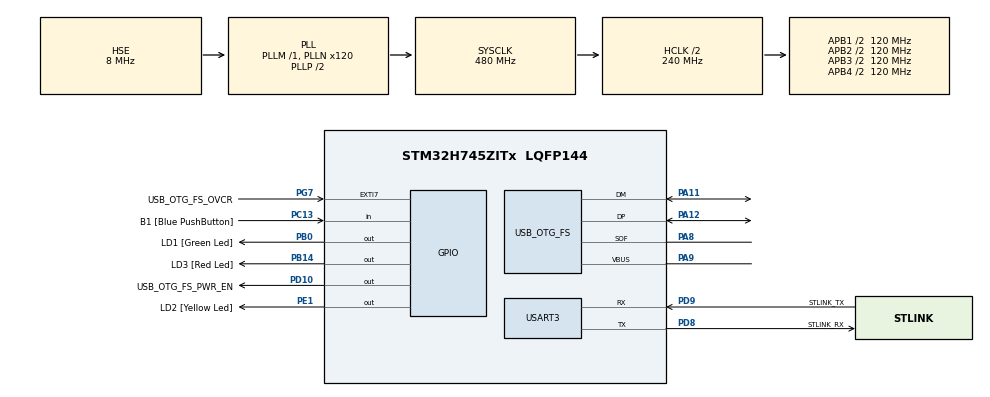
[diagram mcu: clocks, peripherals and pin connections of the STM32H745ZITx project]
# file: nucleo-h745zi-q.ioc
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CORTEX_M7.AccessPermission-Cortex_Memory_Protection_Unit_Region0_Settings=MPU_REGION_FULL_ACCESS
CORTEX_M7.AccessPermission-Cortex_Memory_Protection_Unit_Region1_Settings=MPU_REGION_FULL_ACCESS
CORTEX_M7.AccessPermission-Cortex_Memory_Protection_Unit_Region2_Settings=MPU_REGION_FULL_ACCESS
CORTEX_M7.BaseAddress-Cortex_Memory_Protection_Unit_Region0_Settings=0x38000000
CORTEX_M7.BaseAddress-Cortex_Memory_Protection_Unit_Region1_Settings=0x24000000
CORTEX_M7.BaseAddress-Cortex_Memory_Protection_Unit_Region2_Settings=0x30000000
CORTEX_M7.CPU_DCache=Enabled
CORTEX_M7.CPU_ICache=Enabled
CORTEX_M7.Enable-Cortex_Memory_Protection_Unit_Region0_Settings=MPU_REGION_ENABLE
CORTEX_M7.Enable-Cortex_Memory_Protection_Unit_Region1_Settings=MPU_REGION_ENABLE
CORTEX_M7.Enable-Cortex_Memory_Protection_Unit_Region2_Settings=MPU_REGION_ENABLE
CORTEX_M7.IsCacheable-Cortex_Memory_Protection_Unit_Region0_Settings=MPU_ACCESS_NOT_CACHEABLE
CORTEX_M7.IsShareable-Cortex_Memory_Protection_Unit_Region0_Settings=MPU_ACCESS_SHAREABLE
CORTEX_M7.IsShareable-Cortex_Memory_Protection_Unit_Region1_Settings=MPU_ACCESS_SHAREABLE
CORTEX_M7.IsShareable-Cortex_Memory_Protection_Unit_Region2_Settings=MPU_ACCESS_SHAREABLE
CORTEX_M7.MPU_Control=MPU_PRIVILEGED_DEFAULT
CORTEX_M7.Size-Cortex_Memory_Protection_Unit_Region0_Settings=MPU_REGION_SIZE_64KB
CORTEX_M7.Size-Cortex_Memory_Protection_Unit_Region1_Settings=MPU_REGION_SIZE_64KB
CORTEX_M7.Size-Cortex_Memory_Protection_Unit_Region2_Settings=MPU_REGION_SIZE_64KB
CortexM4.IPs=FATFS_M4\:I,FREERTOS_M4\:I,IWDG2\:I,RCC,WWDG2\:I,DMA,BDMA,MDMA,NVIC2\:I,USART3,DEBUG,USB_DEVICE_M4\:I,USB_HOST_M4\:I,PDM2PCM_M4\:I,PWR,RESMGR_UTILITY,SYS_M4\:I,CORTEX_M4\:I,OPENAMP_M4\:I,VREFBUF,GPIO,TIM1\:I,TIM5
CortexM7.IPs=FATFS_M7\:I,FREERTOS_M7\:I,IWDG1\:I,RCC\:I,WWDG1\:I,DMA\:I,BDMA\:I,MDMA\:I,NVIC1\:I,SYS\:I,USART3\:I,USB_OTG_FS\:I,CORTEX_M7\:I,DEBUG\:I,USB_DEVICE_M7\:I,USB_HOST_M7\:I,PDM2PCM_M7\:I,PWR\:I,RESMGR_UTILITY\:I,OPENAMP_M7\:I,VREFBUF\:I,GPIO\:I,TIM2\:I,TIM5\:I
CortexM7.Pins=PB0,PE1
FREERTOS_M4.Tasks01=defaultTask,8,128,StartDefaultTask,Default,NULL,Dynamic,NULL,NULL
FREERTOS_M4.configUSE_NEWLIB_REENTRANT=1
FREERTOS_M7.Tasks01=defaultTask,24,128,StartDefaultTask,Default,NULL,Dynamic,NULL,NULL
FREERTOS_M7.configUSE_NEWLIB_REENTRANT=1
Mcu.Family=STM32H7
Mcu.Name=STM32H745ZITx
Mcu.Package=LQFP144
NVIC1.PriorityGroup=NVIC_PRIORITYGROUP_4
NVIC1.TIM2_IRQn=true\:15\:0\:false\:false\:true\:false\:false\:true\:true
NVIC1.TimeBase=TIM2_IRQn
NVIC1.TimeBaseIP=TIM2
NVIC1.USART3_IRQn=true\:5\:0\:false\:false\:true\:true\:true\:true\:true
NVIC2.PriorityGroup=NVIC_PRIORITYGROUP_4
NVIC2.TIM1_UP_IRQn=true\:15\:0\:false\:false\:true\:false\:false\:true\:true
NVIC2.TimeBase=TIM1_UP_IRQn
NVIC2.TimeBaseIP=TIM1
PA1.PinAttribute=CortexM7
PA1.Signal=ETH_REF_CLK
PA11.Mode=Device_Only
PA11.PinAttribute=CortexM7
PA11.Signal=USB_OTG_FS_DM
PA12.Mode=Device_Only
PA12.PinAttribute=CortexM7
PA12.Signal=USB_OTG_FS_DP
PA2.PinAttribute=CortexM7
PA2.Signal=ETH_MDIO
PA7.PinAttribute=CortexM7
PA7.Signal=ETH_CRS_DV
PA8.Mode=Activate_SOF_FS
PA8.PinAttribute=CortexM7
PA8.Signal=USB_OTG_FS_SOF
PA9.Mode=Activate_VBUS
PA9.PinAttribute=CortexM7
PA9.Signal=USB_OTG_FS_VBUS
PB0.GPIO_Label=LD1 [Green Led]
PB0.PinAttribute=CortexM7
PB0.Signal=GPIO_Output
PB13.PinAttribute=CortexM7
PB13.Signal=ETH_TXD1
PB14.GPIO_Label=LD3 [Red Led]
PB14.PinAttribute=Free
PB14.Signal=GPIO_Output
PC1.PinAttribute=CortexM7
PC1.Signal=ETH_MDC
PC13.GPIO_Label=B1 [Blue PushButton]
PC13.PinAttribute=Free
PC13.Signal=GPIO_Input
PC14-OSC32_IN\ (OSC32_IN).Mode=LSE-External-Oscillator
PC14-OSC32_IN\ (OSC32_IN).PinAttribute=CortexM7
PC14-OSC32_IN\ (OSC32_IN).Signal=RCC_OSC32_IN
PC15-OSC32_OUT\ (OSC32_OUT).Mode=LSE-External-Oscillator
PC15-OSC32_OUT\ (OSC32_OUT).PinAttribute=CortexM7
PC15-OSC32_OUT\ (OSC32_OUT).Signal=RCC_OSC32_OUT
PC4.PinAttribute=CortexM7
PC4.Signal=ETH_RXD0
PC5.PinAttribute=CortexM7
PC5.Signal=ETH_RXD1
PD10.GPIO_Label=USB_OTG_FS_PWR_EN
PD10.PinAttribute=Free
PD10.Signal=GPIO_Output
PD8.GPIO_Label=STLINK_RX
PD8.Mode=Asynchronous
PD8.PinAttribute=CortexM7
PD8.Signal=USART3_TX
PD9.GPIO_Label=STLINK_TX
PD9.Mode=Asynchronous
PD9.PinAttribute=CortexM7
PD9.Signal=USART3_RX
PE1.GPIO_Label=LD2 [Yellow Led]
PE1.PinAttribute=CortexM7
PE1.Signal=GPIO_Output
PG11.PinAttribute=CortexM7
PG11.Signal=ETH_TX_EN
PG13.PinAttribute=CortexM7
PG13.Signal=ETH_TXD0
PG7.GPIO_Label=USB_OTG_FS_OVCR
PG7.PinAttribute=Free
PG7.Signal=GPXTI7
PH0-OSC_IN\ (PH0).Mode=HSE-External-Clock-Source
PH0-OSC_IN\ (PH0).PinAttribute=CortexM7
PH0-OSC_IN\ (PH0).Signal=RCC_OSC_IN
PH1-OSC_OUT\ (PH1).PinAttribute=CortexM7
PH1-OSC_OUT\ (PH1).Signal=RCC_OSC_OUT
ProjectManager.HeapSize=M4-0x200,M7-0x200
ProjectManager.StackSize=M4-0x400,M7-0x400
ProjectManager.TargetToolchain=STM32CubeIDE
RCC.ADCFreq_Value=75000000
RCC.APB1Freq_Value=120000000
RCC.APB2Freq_Value=120000000
RCC.APB3Freq_Value=120000000
RCC.APB4Freq_Value=120000000
RCC.CortexFreq_Value=480000000
RCC.D1PPRE=RCC_APB3_DIV2
RCC.D2PPRE1=RCC_APB1_DIV2
RCC.D2PPRE2=RCC_APB2_DIV2
RCC.D3PPRE=RCC_APB4_DIV2
RCC.DIVM1=1
RCC.DIVM2=1
RCC.DIVM3=1
RCC.DIVN1=120
RCC.DIVN2=18
RCC.DIVN3=18
RCC.DIVQ1=8
RCC.DIVQ3=3
RCC.HCLKFreq_Value=240000000
RCC.HPRE=RCC_HCLK_DIV2
RCC.HSE_VALUE=8000000
RCC.PLL2FRACN=6144
RCC.PLL3FRACN=6144
RCC.PLLFRACN=0
RCC.PWR_Regulator_Voltage_Scale=PWR_REGULATOR_VOLTAGE_SCALE0
RCC.ProductRev=revV
RCC.SYSCLKFreq_VALUE=480000000
RCC.SYSCLKSource=RCC_SYSCLKSOURCE_PLLCLK
RCC.SupplySource=PWR_DIRECT_SMPS_SUPPLY
RCC.USART234578CLockSelection=RCC_USART234578CLKSOURCE_PLL2
RCC.USBCLockSelection=RCC_USBCLKSOURCE_PLL3
RCC.USBFreq_Value=50000000
TIM5.AutoReloadPreload=TIM_AUTORELOAD_PRELOAD_DISABLE
USART3.FIFOMode=FIFOMODE_ENABLE
USART3.VirtualMode-Asynchronous=VM_ASYNC
USB_OTG_FS.VirtualMode=Device_Only
VP_FREERTOS_M4_VS_CMSIS_V2.Mode=CMSIS_V2
VP_FREERTOS_M7_VS_CMSIS_V2.Mode=CMSIS_V2
VP_SYS_M4_VS_tim1.Mode=TIM1
VP_SYS_VS_tim2.Mode=TIM2
VP_TIM5_VS_ClockSourceINT.Mode=Internal
board=NUCLEO-H745ZI-Q

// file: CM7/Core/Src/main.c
/* USER CODE BEGIN Header */
/**
  ******************************************************************************
  * @file           : main.c
  * @brief          : Main program body
  ******************************************************************************
  * @attention
  *
  * Copyright (c) 2023 STMicroelectronics.
  * All rights reserved.
  *
  * This software is licensed under terms that can be found in the LICENSE file
  * in the root directory of this software component.
  * If no LICENSE file comes with this software, it is provided AS-IS.
  *
  ******************************************************************************
  */
/* USER CODE END Header */
#include "main.h"
#include "cmsis_os.h"

/* USER CODE BEGIN Includes */
#include <stdio.h>
#include <string.h>
#include "uart_commands.h"
#include "app.h"
#include "ipc_mb.h"
#include "time_meas.h"
/* USER CODE END Includes */

/* USER CODE BEGIN PD */
#define osThreadNew(a, b, c) NULL

#ifndef HSEM_ID_0
#define HSEM_ID_0 (0U) /* HW semaphore 0*/
#endif
/* USER CODE END PD */

TIM_HandleTypeDef htim5;

UART_HandleTypeDef huart3;

PCD_HandleTypeDef hpcd_USB_OTG_FS;

/* Definitions for defaultTask */
osThreadId_t defaultTaskHandle;
const osThreadAttr_t defaultTask_attributes = {
  .name = "defaultTask",
  .stack_size = 128 * 4,
  .priority = (osPriority_t) osPriorityNormal,
};

void SystemClock_Config(void);
static void MPU_Config(void);
static void MX_GPIO_Init(void);
static void MX_USART3_UART_Init(void);
static void MX_USB_OTG_FS_PCD_Init(void);
static void MX_TIM5_Init(void);
void StartDefaultTask(void *argument);

int main(void)
{
/* USER CODE BEGIN Boot_Mode_Sequence_0 */
  int32_t timeout;
  SCB_InvalidateICache();
  SCB_InvalidateDCache();
/* USER CODE END Boot_Mode_Sequence_0 */

  /* MPU Configuration--------------------------------------------------------*/
  MPU_Config();

  /* Enable I-Cache---------------------------------------------------------*/
  SCB_EnableICache();

  /* Enable D-Cache---------------------------------------------------------*/
  SCB_EnableDCache();

/* USER CODE BEGIN Boot_Mode_Sequence_1 */
  /* Wait until CPU2 boots and enters in stop mode or timeout*/
  timeout = 0xFFFF;
  while((__HAL_RCC_GET_FLAG(RCC_FLAG_D2CKRDY) != RESET) && (timeout-- > 0));
  if ( timeout < 0 )
  {
  Error_Handler();
  }
/* USER CODE END Boot_Mode_Sequence_1 */
  /* MCU Configuration--------------------------------------------------------*/

  /* Reset of all peripherals, Initializes the Flash interface and the Systick. */
  HAL_Init();

  /* USER CODE BEGIN Init */
  ctrl_initInterrupts();
  ctrl_initSharedVariables();
  initIPC_MessageBuffers();
  time_initTimers();

  /* USER CODE END Init */

  /* Configure the system clock */
  SystemClock_Config();
/* USER CODE BEGIN Boot_Mode_Sequence_2 */
/* When system initialization is finished, Cortex-M7 will release Cortex-M4 by means of
HSEM notification */
/*HW semaphore Clock enable*/
__HAL_RCC_HSEM_CLK_ENABLE();
/*Take HSEM */
HAL_HSEM_FastTake(HSEM_ID_0);
/*Release HSEM in order to notify the CPU2(CM4)*/
HAL_HSEM_Release(HSEM_ID_0,0);
/* wait until CPU2 wakes up from stop mode */
timeout = 0xFFFF;
while((__HAL_RCC_GET_FLAG(RCC_FLAG_D2CKRDY) == RESET) && (timeout-- > 0));
if ( timeout < 0 )
{
Error_Handler();
}
/* USER CODE END Boot_Mode_Sequence_2 */

  /* Initialize all configured peripherals */
  MX_GPIO_Init();
  MX_USART3_UART_Init();
  MX_USB_OTG_FS_PCD_Init();
  MX_TIM5_Init();

  /* Init scheduler */
  osKernelInitialize();

  /* Create the thread(s) */
  /* creation of defaultTask */
  defaultTaskHandle = osThreadNew(StartDefaultTask, NULL, &defaultTask_attributes);

  /* USER CODE BEGIN RTOS_THREADS */
  app_createTasks(&huart3);
  /* add threads, ... */
  /* USER CODE END RTOS_THREADS */

  /* Start scheduler */
  osKernelStart();

  /* We should never get here as control is now taken by the scheduler */
  /* Infinite loop */
  while (1)
  {

  }
}

void SystemClock_Config(void)
{
  RCC_OscInitTypeDef RCC_OscInitStruct = {0};
  RCC_ClkInitTypeDef RCC_ClkInitStruct = {0};

  /** Supply configuration update enable
  */
  HAL_PWREx_ConfigSupply(PWR_DIRECT_SMPS_SUPPLY);

  /** Configure the main internal regulator output voltage
  */
  __HAL_PWR_VOLTAGESCALING_CONFIG(PWR_REGULATOR_VOLTAGE_SCALE0);

  while(!__HAL_PWR_GET_FLAG(PWR_FLAG_VOSRDY)) {}

  /** Macro to configure the PLL clock source
  */
  __HAL_RCC_PLL_PLLSOURCE_CONFIG(RCC_PLLSOURCE_HSE);

  /** Initializes the RCC Oscillators according to the specified parameters
  * in the RCC_OscInitTypeDef structure.
  */
  RCC_OscInitStruct.OscillatorType = RCC_OSCILLATORTYPE_HSE;
  RCC_OscInitStruct.HSEState = RCC_HSE_BYPASS;
  RCC_OscInitStruct.PLL.PLLState = RCC_PLL_ON;
  RCC_OscInitStruct.PLL.PLLSource = RCC_PLLSOURCE_HSE;
  RCC_OscInitStruct.PLL.PLLM = 1;
  RCC_OscInitStruct.PLL.PLLN = 120;
  RCC_OscInitStruct.PLL.PLLP = 2;
  RCC_OscInitStruct.PLL.PLLQ = 8;
  RCC_OscInitStruct.PLL.PLLR = 2;
  RCC_OscInitStruct.PLL.PLLRGE = RCC_PLL1VCIRANGE_3;
  RCC_OscInitStruct.PLL.PLLVCOSEL = RCC_PLL1VCOWIDE;
  RCC_OscInitStruct.PLL.PLLFRACN = 0;
  if (HAL_RCC_OscConfig(&RCC_OscInitStruct) != HAL_OK)
  {
    Error_Handler();
  }

  /** Initializes the CPU, AHB and APB buses clocks
  */
  RCC_ClkInitStruct.ClockType = RCC_CLOCKTYPE_HCLK|RCC_CLOCKTYPE_SYSCLK
                              |RCC_CLOCKTYPE_PCLK1|RCC_CLOCKTYPE_PCLK2
                              |RCC_CLOCKTYPE_D3PCLK1|RCC_CLOCKTYPE_D1PCLK1;
  RCC_ClkInitStruct.SYSCLKSource = RCC_SYSCLKSOURCE_PLLCLK;
  RCC_ClkInitStruct.SYSCLKDivider = RCC_SYSCLK_DIV1;
  RCC_ClkInitStruct.AHBCLKDivider = RCC_HCLK_DIV2;
  RCC_ClkInitStruct.APB3CLKDivider = RCC_APB3_DIV2;
  RCC_ClkInitStruct.APB1CLKDivider = RCC_APB1_DIV2;
  RCC_ClkInitStruct.APB2CLKDivider = RCC_APB2_DIV2;
  RCC_ClkInitStruct.APB4CLKDivider = RCC_APB4_DIV2;

  if (HAL_RCC_ClockConfig(&RCC_ClkInitStruct, FLASH_LATENCY_4) != HAL_OK)
  {
    Error_Handler();
  }
}

static void MX_TIM5_Init(void)
{

  TIM_ClockConfigTypeDef sClockSourceConfig = {0};
  TIM_MasterConfigTypeDef sMasterConfig = {0};

  htim5.Instance = TIM5;
  htim5.Init.Prescaler = 0;
  htim5.Init.CounterMode = TIM_COUNTERMODE_UP;
  htim5.Init.Period = 4294967295;
  htim5.Init.ClockDivision = TIM_CLOCKDIVISION_DIV1;
  htim5.Init.AutoReloadPreload = TIM_AUTORELOAD_PRELOAD_DISABLE;
  if (HAL_TIM_Base_Init(&htim5) != HAL_OK)
  {
    Error_Handler();
  }
  sClockSourceConfig.ClockSource = TIM_CLOCKSOURCE_INTERNAL;
  if (HAL_TIM_ConfigClockSource(&htim5, &sClockSourceConfig) != HAL_OK)
  {
    Error_Handler();
  }
  sMasterConfig.MasterOutputTrigger = TIM_TRGO_RESET;
  sMasterConfig.MasterSlaveMode = TIM_MASTERSLAVEMODE_DISABLE;
  if (HAL_TIMEx_MasterConfigSynchronization(&htim5, &sMasterConfig) != HAL_OK)
  {
    Error_Handler();
  }
  /* USER CODE BEGIN TIM5_Init 2 */
  HAL_TIM_Base_Start(&htim5);
  /* USER CODE END TIM5_Init 2 */

}

static void MX_USART3_UART_Init(void)
{

  huart3.Instance = USART3;
  huart3.Init.BaudRate = 115200;
  huart3.Init.WordLength = UART_WORDLENGTH_8B;
  huart3.Init.StopBits = UART_STOPBITS_1;
  huart3.Init.Parity = UART_PARITY_NONE;
  huart3.Init.Mode = UART_MODE_TX_RX;
  huart3.Init.HwFlowCtl = UART_HWCONTROL_NONE;
  huart3.Init.OverSampling = UART_OVERSAMPLING_16;
  huart3.Init.OneBitSampling = UART_ONE_BIT_SAMPLE_DISABLE;
  huart3.Init.ClockPrescaler = UART_PRESCALER_DIV1;
  huart3.AdvancedInit.AdvFeatureInit = UART_ADVFEATURE_NO_INIT;
  if (HAL_UART_Init(&huart3) != HAL_OK)
  {
    Error_Handler();
  }
  if (HAL_UARTEx_SetTxFifoThreshold(&huart3, UART_TXFIFO_THRESHOLD_1_8) != HAL_OK)
  {
    Error_Handler();
  }
  if (HAL_UARTEx_SetRxFifoThreshold(&huart3, UART_RXFIFO_THRESHOLD_1_8) != HAL_OK)
  {
    Error_Handler();
  }
  if (HAL_UARTEx_EnableFifoMode(&huart3) != HAL_OK)
  {
    Error_Handler();
  }

}

static void MX_USB_OTG_FS_PCD_Init(void)
{

  hpcd_USB_OTG_FS.Instance = USB_OTG_FS;
  hpcd_USB_OTG_FS.Init.dev_endpoints = 9;
  hpcd_USB_OTG_FS.Init.speed = PCD_SPEED_FULL;
  hpcd_USB_OTG_FS.Init.dma_enable = DISABLE;
  hpcd_USB_OTG_FS.Init.phy_itface = PCD_PHY_EMBEDDED;
  hpcd_USB_OTG_FS.Init.Sof_enable = DISABLE;
  hpcd_USB_OTG_FS.Init.low_power_enable = DISABLE;
  hpcd_USB_OTG_FS.Init.lpm_enable = DISABLE;
  hpcd_USB_OTG_FS.Init.battery_charging_enable = ENABLE;
  hpcd_USB_OTG_FS.Init.vbus_sensing_enable = ENABLE;
  hpcd_USB_OTG_FS.Init.use_dedicated_ep1 = DISABLE;
  if (HAL_PCD_Init(&hpcd_USB_OTG_FS) != HAL_OK)
  {
    Error_Handler();
  }

}

static void MX_GPIO_Init(void)
{
  GPIO_InitTypeDef GPIO_InitStruct = {0};

  /* GPIO Ports Clock Enable */
  __HAL_RCC_GPIOC_CLK_ENABLE();
  __HAL_RCC_GPIOH_CLK_ENABLE();
  __HAL_RCC_GPIOB_CLK_ENABLE();
  __HAL_RCC_GPIOD_CLK_ENABLE();
  __HAL_RCC_GPIOA_CLK_ENABLE();
  __HAL_RCC_GPIOE_CLK_ENABLE();

  /*Configure GPIO pin Output Level */
  HAL_GPIO_WritePin(LD1_GPIO_Port, LD1_Pin, GPIO_PIN_RESET);

  /*Configure GPIO pin Output Level */
  HAL_GPIO_WritePin(LD2_GPIO_Port, LD2_Pin, GPIO_PIN_RESET);

  /*Configure GPIO pin : LD1_Pin */
  GPIO_InitStruct.Pin = LD1_Pin;
  GPIO_InitStruct.Mode = GPIO_MODE_OUTPUT_PP;
  GPIO_InitStruct.Pull = GPIO_NOPULL;
  GPIO_InitStruct.Speed = GPIO_SPEED_FREQ_LOW;
  HAL_GPIO_Init(LD1_GPIO_Port, &GPIO_InitStruct);

  /*Configure GPIO pin : LD2_Pin */
  GPIO_InitStruct.Pin = LD2_Pin;
  GPIO_InitStruct.Mode = GPIO_MODE_OUTPUT_PP;
  GPIO_InitStruct.Pull = GPIO_NOPULL;
  GPIO_InitStruct.Speed = GPIO_SPEED_FREQ_LOW;
  HAL_GPIO_Init(LD2_GPIO_Port, &GPIO_InitStruct);

}

void StartDefaultTask(void *argument)
{
  /* USER CODE BEGIN 5 */
  (void)argument;
  /* Infinite loop */
  for(;;)
  {
    osDelay(1000);
  }
  /* USER CODE END 5 */
}

/* MPU Configuration */

void MPU_Config(void)
{
  MPU_Region_InitTypeDef MPU_InitStruct = {0};

  /* Disables the MPU */
  HAL_MPU_Disable();

  /** Initializes and configures the Region and the memory to be protected
  */
  MPU_InitStruct.Enable = MPU_REGION_ENABLE;
  MPU_InitStruct.Number = MPU_REGION_NUMBER0;
  MPU_InitStruct.BaseAddress = 0x38000000;
  MPU_InitStruct.Size = MPU_REGION_SIZE_64KB;
  MPU_InitStruct.SubRegionDisable = 0x0;
  MPU_InitStruct.TypeExtField = MPU_TEX_LEVEL0;
  MPU_InitStruct.AccessPermission = MPU_REGION_FULL_ACCESS;
  MPU_InitStruct.DisableExec = MPU_INSTRUCTION_ACCESS_ENABLE;
  MPU_InitStruct.IsShareable = MPU_ACCESS_SHAREABLE;
  MPU_InitStruct.IsCacheable = MPU_ACCESS_NOT_CACHEABLE;
  MPU_InitStruct.IsBufferable = MPU_ACCESS_NOT_BUFFERABLE;

  HAL_MPU_ConfigRegion(&MPU_InitStruct);

  /** Initializes and configures the Region and the memory to be protected
  */
  MPU_InitStruct.Number = MPU_REGION_NUMBER1;
  MPU_InitStruct.BaseAddress = 0x24000000;

  HAL_MPU_ConfigRegion(&MPU_InitStruct);

  /** Initializes and configures the Region and the memory to be protected
  */
  MPU_InitStruct.Number = MPU_REGION_NUMBER2;
  MPU_InitStruct.BaseAddress = 0x30000000;

  HAL_MPU_ConfigRegion(&MPU_InitStruct);
  /* Enables the MPU */
  HAL_MPU_Enable(MPU_PRIVILEGED_DEFAULT);

}

void HAL_TIM_PeriodElapsedCallback(TIM_HandleTypeDef *htim)
{
  if (htim->Instance == TIM2) {
    HAL_IncTick();
  }
}

void Error_Handler(void)
{
  __disable_irq();
  while (1)
  {
  }
}
